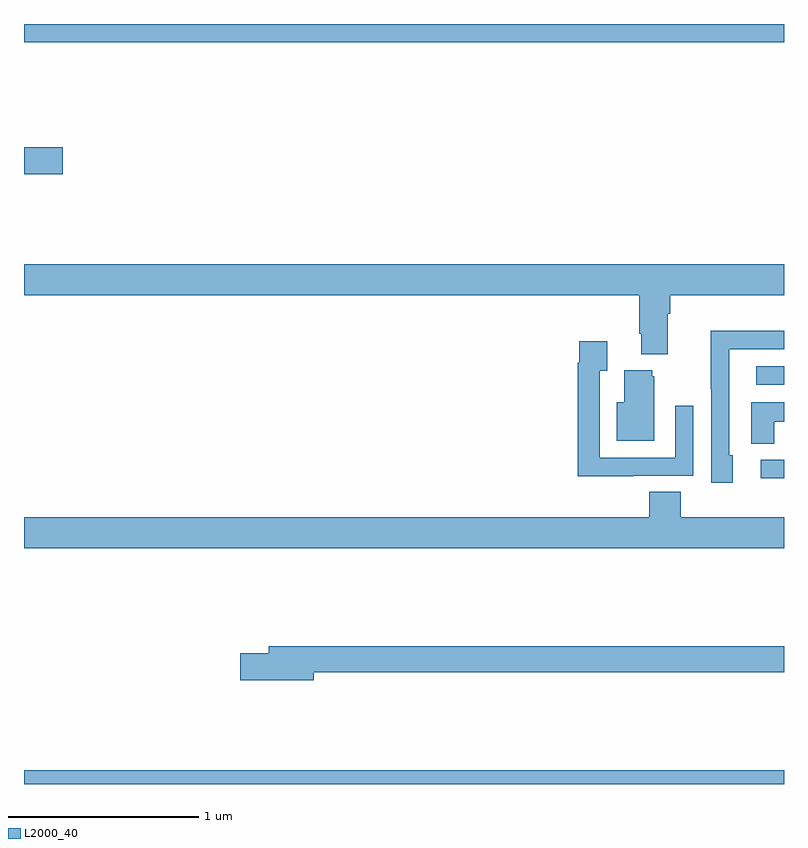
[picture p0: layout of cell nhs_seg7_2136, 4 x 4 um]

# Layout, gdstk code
import gdstk
lib = gdstk.Library(unit=1e-6, precision=1e-09)
def R(c, l, rs):  # rectangles x0, y0, x1, y1
    for r in rs: c.add(gdstk.rectangle(r[:2], r[2:], *l))
def P(c, l, *ps):  # polygons
    for p in ps: c.add(gdstk.Polygon(p, *l))
L2000_40 = (2000, 40)

nhs_seg7_2136 = lib.new_cell('nhs_seg7_2136')
R(nhs_seg7_2136, L2000_40, [(251,1042,255,1042.072), (254.877,1043.609,255,1043.706), (254.853,1044.102,255,1044.198), (251,1045.21,251.203,1045.352), (251,1045.904,255,1046)])
P(nhs_seg7_2136, L2000_40, [(254.389,1044.476),(254.402,1044.476),(254.402,1044.572),(255,1044.572),(255,1044.736),(251,1044.736),(251,1044.572),(254.237,1044.572),(254.237,1044.37),(254.249,1044.37),(254.249,1044.263),(254.389,1044.263)],
  [(254.731,1043.73),(254.712,1043.73),(254.712,1044.288),(255,1044.288),(255,1044.386),(254.614,1044.386),(254.614,1044.079),(254.616,1044.079),(254.616,1043.586),(254.731,1043.586)],
  [(254.207,1043.622),(254.523,1043.622),(254.523,1043.992),(254.427,1043.992),(254.427,1043.718),(254.031,1043.718),(254.031,1044.175),(254.071,1044.175),(254.071,1044.331),(253.923,1044.331),(253.923,1044.218),(253.915,1044.218),(253.915,1043.621),(254.207,1043.621)],
  [(254.317,1044.147),(254.306,1044.147),(254.306,1044.178),(254.159,1044.178),(254.159,1044.01),(254.12,1044.01),(254.12,1043.807),(254.317,1043.807)],
  [(254.949,1043.906),(255,1043.906),(255,1044.01),(254.828,1044.01),(254.828,1043.791),(254.949,1043.791)],
  [(255,1043.404),(254.456,1043.404),(254.456,1043.537),(254.291,1043.537),(254.291,1043.404),(251,1043.404),(251,1043.24),(255,1043.24)],
  [(252.526,1042.588),(255,1042.588),(255,1042.724),(252.287,1042.724),(252.287,1042.688),(252.138,1042.688),(252.138,1042.546),(252.526,1042.546)])

lib.write_gds('nhs_seg7_2136.gds')
